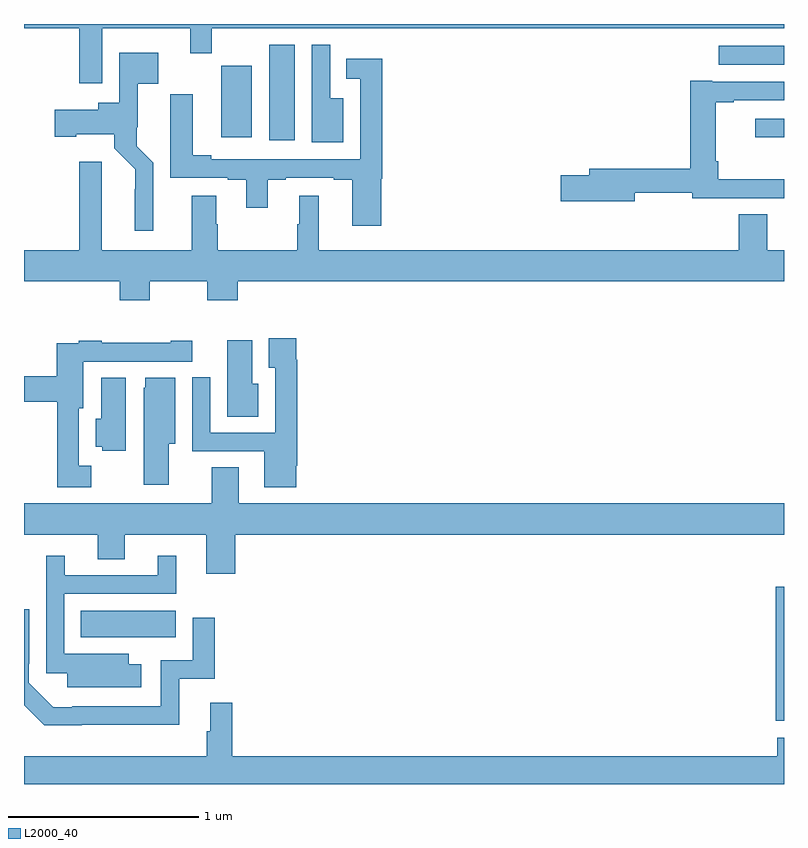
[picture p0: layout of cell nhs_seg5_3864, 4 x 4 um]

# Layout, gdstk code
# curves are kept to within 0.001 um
import gdstk
lib = gdstk.Library(unit=1e-6, precision=1e-09)
def R(c, l, rs):  # rectangles x0, y0, x1, y1
    for r in rs: c.add(gdstk.rectangle(r[:2], r[2:], *l))
def P(c, l, *ps):  # polygons
    for p in ps: c.add(gdstk.Polygon(p, *l))
L2000_40 = (2000, 40)

nhs_seg5_3864 = lib.new_cell('nhs_seg5_3864')
R(nhs_seg5_3864, L2000_40, [(342.956,837.131,343,837.837), (339.298,837.572,339.799,837.712), (340.292,840.186,340.426,840.691), (342.849,840.202,343,840.3), (342.657,840.584,343,840.685)])
P(nhs_seg5_3864, L2000_40, [(339.412,840.776),(339.875,840.776),(339.875,840.646),(339.987,840.646),(339.987,840.776),(343,840.776),(343,840.799),(339,840.799),(339,840.776),(339.291,840.776),(339.291,840.486),(339.412,840.486)],
  [(340.681,840.409),(340.611,840.409),(340.611,840.691),(340.515,840.691),(340.515,840.177),(340.681,840.177)],
  [(339.681,840.069),(339.594,840.156),(339.594,840.256),(339.598,840.256),(339.598,840.485),(339.706,840.485),(339.706,840.649),(339.501,840.649),(339.501,840.385),(339.392,840.385),(339.392,840.348),(339.162,840.348),(339.162,840.206),(339.274,840.206),(339.274,840.218),(339.474,840.218),(339.474,840.145),(339.585,840.034),(339.584,839.712),(339.681,839.712)],
  [(340.88,839.984),(340.886,839.984),(340.886,840.616),(340.696,840.616),(340.696,840.51),(340.77,840.51),(340.77,840.087),(339.985,840.087),(339.985,840.107),(339.889,840.107),(339.889,840.43),(339.77,840.43),(339.77,839.991),(340.073,839.991),(340.073,839.979),(340.169,839.979),(340.169,839.832),(340.282,839.832),(340.282,839.979),(340.378,839.979),(340.378,839.991),(340.631,839.991),(340.631,839.979),(340.727,839.979),(340.727,839.736),(340.88,839.736)],
  [(340.198,840.578),(340.039,840.578),(340.039,840.47),(340.037,840.47),(340.037,840.204),(340.198,840.204)],
  [(342.214,839.91),(342.518,839.91),(342.518,839.883),(343,839.883),(343,839.982),(342.653,839.982),(342.653,840.076),(342.64,840.076),(342.64,840.387),(342.736,840.387),(342.736,840.399),(343,840.399),(343,840.495),(342.622,840.495),(342.622,840.5),(342.506,840.5),(342.506,840.038),(341.975,840.038),(341.975,840.002),(341.826,840.002),(341.826,839.867),(342.214,839.867)],
  [(339.663,839.444),(339.964,839.444),(339.964,839.345),(340.124,839.345),(340.124,839.444),(343,839.444),(343,839.608),(342.913,839.608),(342.913,839.798),(342.761,839.798),(342.761,839.608),(340.552,839.608),(340.552,839.896),(340.448,839.896),(340.448,839.744),(340.438,839.744),(340.438,839.608),(340.02,839.608),(340.02,839.744),(340.012,839.744),(340.012,839.896),(339.884,839.896),(339.884,839.608),(339.409,839.608),(339.409,840.073),(339.291,840.073),(339.291,839.608),(339,839.608),(339,839.444),(339.503,839.444),(339.503,839.345),(339.663,839.345)],
  [(340.433,838.474),(340.439,838.474),(340.439,839.033),(340.432,839.033),(340.432,839.146),(340.289,839.146),(340.289,838.99),(340.323,838.99),(340.323,838.647),(339.981,838.647),(339.981,838.941),(339.885,838.941),(339.885,838.551),(340.265,838.551),(340.265,838.362),(340.433,838.362)],
  [(340.234,838.906),(340.201,838.906),(340.201,839.134),(340.07,839.134),(340.07,838.732),(340.234,838.732)],
  [(339.355,838.474),(339.289,838.474),(339.289,838.776),(339.313,838.776),(339.313,839.022),(339.885,839.022),(339.885,839.131),(339.773,839.131),(339.773,839.121),(339.409,839.121),(339.409,839.131),(339.289,839.131),(339.289,839.118),(339.173,839.118),(339.173,838.946),(339,838.946),(339,838.81),(339.175,838.81),(339.175,838.361),(339.355,838.361)],
  [(339.763,838.589),(339.796,838.589),(339.796,838.937),(339.638,838.937),(339.638,838.884),(339.629,838.884),(339.629,838.374),(339.763,838.374)],
  [(339.535,838.937),(339.407,838.937),(339.407,838.722),(339.377,838.722),(339.377,838.574),(339.411,838.574),(339.411,838.553),(339.535,838.553)],
  [(340.112,838.112),(343,838.112),(343,838.276),(340.129,838.276),(340.129,838.466),(339.989,838.466),(339.989,838.276),(339,838.276),(339,838.112),(339.389,838.112),(339.389,837.982),(339.529,837.982),(339.529,838.112),(339.959,838.112),(339.959,837.906),(340.112,837.906)],
  [(339.616,837.43),(339.55,837.43),(339.55,837.484),(339.213,837.484),(339.213,837.801),(339.802,837.801),(339.802,838),(339.704,838),(339.704,837.897),(339.214,837.897),(339.214,838),(339.117,838),(339.117,837.381),(339.227,837.381),(339.227,837.308),(339.616,837.308)],
  [(339.305,837.11),(339.817,837.11),(339.817,837.354),(340.004,837.354),(340.004,837.673),(339.888,837.673),(339.888,837.45),(339.72,837.45),(339.72,837.207),(339.253,837.207),(339.253,837.204),(339.153,837.204),(339.024,837.333),(339.024,837.433),(339.027,837.433),(339.027,837.718),(339,837.718),(339,837.214),(339.106,837.108),(339.305,837.108)],
  [(343,837.043),(342.965,837.043),(342.965,836.944),(340.097,836.944),(340.097,837.226),(339.98,837.226),(339.98,837.077),(339.961,837.077),(339.961,836.944),(339,836.944),(339,836.799),(343,836.799)])

lib.write_gds('nhs_seg5_3864.gds')
